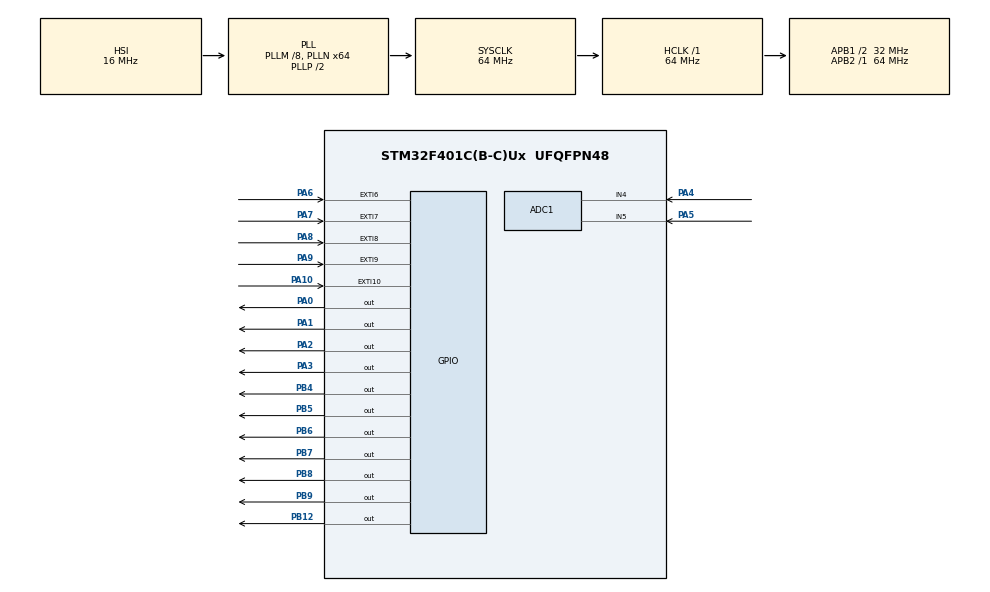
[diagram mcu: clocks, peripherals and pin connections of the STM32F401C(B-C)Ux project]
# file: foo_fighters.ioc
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ADC1.Channel-4\#ChannelRegularConversion=ADC_CHANNEL_4
ADC1.NbrOfConversionFlag=1
ADC1.Rank-4\#ChannelRegularConversion=1
ADC1.SamplingTime-4\#ChannelRegularConversion=ADC_SAMPLETIME_3CYCLES
ADC1.master=1
Mcu.Family=STM32F4
Mcu.Name=STM32F401C(B-C)Ux
Mcu.Package=UFQFPN48
NVIC.ADC_IRQn=true\:0\:0\:false\:false\:true\:true\:true\:true
NVIC.EXTI15_10_IRQn=true\:0\:0\:false\:false\:true\:true\:true\:true
NVIC.EXTI9_5_IRQn=true\:0\:0\:false\:false\:true\:true\:true\:true
NVIC.PriorityGroup=NVIC_PRIORITYGROUP_4
NVIC.TIM1_UP_TIM10_IRQn=true\:0\:0\:false\:false\:true\:true\:true\:true
PA0-WKUP.Signal=GPIO_Output
PA1.Signal=GPIO_Output
PA10.GPIO_ModeDefaultEXTI=GPIO_MODE_IT_FALLING
PA10.GPIO_PuPd=GPIO_PULLUP
PA10.Signal=GPXTI10
PA13.Signal=SYS_JTMS-SWDIO
PA14.Signal=SYS_JTCK-SWCLK
PA2.Signal=GPIO_Output
PA3.Signal=GPIO_Output
PA4.Signal=SharedAnalog_PA4
PA5.Signal=SharedAnalog_PA5
PA6.GPIO_ModeDefaultEXTI=GPIO_MODE_IT_FALLING
PA6.GPIO_PuPd=GPIO_PULLUP
PA6.Signal=GPXTI6
PA7.GPIO_ModeDefaultEXTI=GPIO_MODE_IT_FALLING
PA7.GPIO_PuPd=GPIO_PULLUP
PA7.Signal=GPXTI7
PA8.GPIO_ModeDefaultEXTI=GPIO_MODE_IT_FALLING
PA8.GPIO_PuPd=GPIO_PULLUP
PA8.Signal=GPXTI8
PA9.GPIO_ModeDefaultEXTI=GPIO_MODE_IT_FALLING
PA9.GPIO_PuPd=GPIO_PULLUP
PA9.Signal=GPXTI9
PB12.Signal=GPIO_Output
PB4.Signal=GPIO_Output
PB5.Signal=GPIO_Output
PB6.Signal=GPIO_Output
PB7.Signal=GPIO_Output
PB8.Signal=GPIO_Output
PB9.Signal=GPIO_Output
PH0\ -\ OSC_IN.Mode=HSE-External-Oscillator
PH0\ -\ OSC_IN.Signal=RCC_OSC_IN
PH1\ -\ OSC_OUT.Mode=HSE-External-Oscillator
PH1\ -\ OSC_OUT.Signal=RCC_OSC_OUT
ProjectManager.HeapSize=0x200
ProjectManager.StackSize=0x400
ProjectManager.TargetToolchain=STM32CubeIDE
RCC.48MHZClocksFreq_Value=32000000
RCC.AHBFreq_Value=64000000
RCC.APB1CLKDivider=RCC_HCLK_DIV2
RCC.APB1Freq_Value=32000000
RCC.APB1TimFreq_Value=64000000
RCC.APB2Freq_Value=64000000
RCC.APB2TimFreq_Value=64000000
RCC.CortexFreq_Value=64000000
RCC.HCLKFreq_Value=64000000
RCC.HSE_VALUE=25000000
RCC.HSI_VALUE=16000000
RCC.LSE_VALUE=32768
RCC.PLLM=8
RCC.PLLN=64
RCC.SYSCLKFreq_VALUE=64000000
RCC.SYSCLKSource=RCC_SYSCLKSOURCE_PLLCLK
RCC.VCOOutputFreq_Value=128000000
SH.SharedAnalog_PA4.0=GPIO_Analog
SH.SharedAnalog_PA4.1=ADC1_IN4,IN4
SH.SharedAnalog_PA5.0=GPIO_Analog
SH.SharedAnalog_PA5.1=ADC1_IN5,IN5
TIM1.Period=3
TIM1.Prescaler=999
VP_TIM1_VS_ClockSourceINT.Mode=Internal
board=custom

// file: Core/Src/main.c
/* USER CODE BEGIN Header */
/**
  ******************************************************************************
  * @file           : main.c
  * @brief          : Main program body
  ******************************************************************************
  * @attention
  *
  * Copyright (c) 2024 STMicroelectronics.
  * All rights reserved.
  *
  * This software is licensed under terms that can be found in the LICENSE file
  * in the root directory of this software component.
  * If no LICENSE file comes with this software, it is provided AS-IS.
  *
  ******************************************************************************
  */
/* USER CODE END Header */
#include "main.h"

/* USER CODE BEGIN Includes */
#include "lcd.h"
#include <math.h>

/* USER CODE END Includes */

ADC_HandleTypeDef hadc1;

TIM_HandleTypeDef htim1;

/* USER CODE BEGIN PV */
uint32_t adcData[2], tiksay, potValue, adcValue;
int sayi, uyg;
double temperature;
/* USER CODE END PV */

void SystemClock_Config(void);
static void MX_GPIO_Init(void);
static void MX_TIM1_Init(void);
static void MX_ADC1_Init(void);

int main(void)
{

  /* MCU Configuration--------------------------------------------------------*/

  /* Reset of all peripherals, Initializes the Flash interface and the Systick. */
  HAL_Init();

  /* Configure the system clock */
  SystemClock_Config();

  /* Initialize all configured peripherals */
  MX_GPIO_Init();
  MX_TIM1_Init();
  MX_ADC1_Init();
  /* USER CODE BEGIN 2 */

  HAL_GPIO_WritePin(GPIOA, GPIO_PIN_3, 1);
  HAL_GPIO_WritePin(GPIOA, GPIO_PIN_2, 1);
  HAL_GPIO_WritePin(GPIOA, GPIO_PIN_1, 1);
  HAL_GPIO_WritePin(GPIOA, GPIO_PIN_0, 1);

  lcdInit();
  writeStr(1,0,"Gomulu Sistemler");
  writeStr(2,0,"Final Odevi");
  HAL_Delay(5000);
  clearLcd2();

  sayi=0; uyg=0; tiksay=0;
  writeStr(1,0,"Secim Yapiniz");
  writeStr(2,0,"Seciminiz: ");
  displayInt(2,11,sayi);

  /* USER CODE END 2 */

  /* Infinite loop */
  /* USER CODE BEGIN WHILE */
  while (1)
  {
	  if (uyg == 0) {
		  HAL_GPIO_WritePin(GPIOA, GPIO_PIN_3, 1);
	  	  HAL_GPIO_WritePin(GPIOA, GPIO_PIN_2, 1);
	  	  HAL_GPIO_WritePin(GPIOA, GPIO_PIN_1, 1);
	  	  HAL_GPIO_WritePin(GPIOA, GPIO_PIN_0, 1);

	  	  clearLcd2();
	  	  writeStr(1,0,"Secim Yapiniz");
	  	  writeStr(2,0,"Seciminiz: ");
	  	  displayInt(2,11,sayi);
	  }
	  else if (uyg == 1) {
		  clearLcd2();
		  writeStr(1,0,"Projeyi Yapanlar:");
		  writeStr(2,0,"Ahmet Asfour");
	  }
	  else if (uyg == 15) {
		  clearLcd2();
		  writeStr(1,0,"Mert Kurt");
		  writeStr(2,0,"Yunus Delibas");
	  }
	  else if (uyg == 2) {
		  clearLcd2();
		  writeStr(1,0,"LED'ler yaniyor.");

		  HAL_GPIO_WritePin(GPIOA, GPIO_PIN_0, 0);
		  HAL_Delay(500);
		  HAL_GPIO_WritePin(GPIOA, GPIO_PIN_1, 0);
		  HAL_GPIO_WritePin(GPIOA, GPIO_PIN_0, 1);
		  HAL_Delay(500);
		  HAL_GPIO_WritePin(GPIOA, GPIO_PIN_0, 0);
		  HAL_Delay(500);
		  HAL_GPIO_WritePin(GPIOA, GPIO_PIN_2, 0);
		  HAL_GPIO_WritePin(GPIOA, GPIO_PIN_1, 1);
		  HAL_GPIO_WritePin(GPIOA, GPIO_PIN_0, 1);
		  HAL_Delay(500);
		  HAL_GPIO_WritePin(GPIOA, GPIO_PIN_0, 0);
		  HAL_Delay(500);
		  HAL_GPIO_WritePin(GPIOA, GPIO_PIN_1, 0);
		  HAL_GPIO_WritePin(GPIOA, GPIO_PIN_0, 1);
		  HAL_Delay(500);
		  HAL_GPIO_WritePin(GPIOA, GPIO_PIN_0, 0);
		  HAL_Delay(500);
		  HAL_GPIO_WritePin(GPIOA, GPIO_PIN_3, 0);
		  HAL_GPIO_WritePin(GPIOA, GPIO_PIN_2, 1);
		  HAL_GPIO_WritePin(GPIOA, GPIO_PIN_1, 1);
		  HAL_GPIO_WritePin(GPIOA, GPIO_PIN_0, 1);
		  HAL_Delay(500);
		  HAL_GPIO_WritePin(GPIOA, GPIO_PIN_0, 0);
		  HAL_Delay(500);
		  HAL_GPIO_WritePin(GPIOA, GPIO_PIN_1, 0);
		  HAL_GPIO_WritePin(GPIOA, GPIO_PIN_0, 1);
		  HAL_Delay(500);
		  HAL_GPIO_WritePin(GPIOA, GPIO_PIN_0, 0);
		  HAL_Delay(500);
		  HAL_GPIO_WritePin(GPIOA, GPIO_PIN_2, 0);
		  HAL_GPIO_WritePin(GPIOA, GPIO_PIN_1, 1);
		  HAL_GPIO_WritePin(GPIOA, GPIO_PIN_0, 1);
		  HAL_Delay(500);
		  HAL_GPIO_WritePin(GPIOA, GPIO_PIN_0, 0);
		  HAL_Delay(500);
		  HAL_GPIO_WritePin(GPIOA, GPIO_PIN_1, 0);
		  HAL_GPIO_WritePin(GPIOA, GPIO_PIN_0, 1);
		  HAL_Delay(500);
		  HAL_GPIO_WritePin(GPIOA, GPIO_PIN_0, 0);
		  HAL_Delay(500);

		  HAL_GPIO_WritePin(GPIOA, GPIO_PIN_3, 1);
		  HAL_GPIO_WritePin(GPIOA, GPIO_PIN_2, 1);
		  HAL_GPIO_WritePin(GPIOA, GPIO_PIN_1, 1);
		  HAL_GPIO_WritePin(GPIOA, GPIO_PIN_0, 1);
	  }
	  else if (uyg == 3) {
		  clearLcd2();

		  ADC_ChannelConfTypeDef sConfig = {0};
		  sConfig.Channel = ADC_CHANNEL_5;
		  sConfig.Rank = 1;
		  sConfig.SamplingTime = ADC_SAMPLETIME_3CYCLES;
		  if (HAL_ADC_ConfigChannel(&hadc1, &sConfig) != HAL_OK)
		  {
		      Error_Handler();
		  }

		  HAL_ADC_Start(&hadc1);
		  HAL_ADC_PollForConversion(&hadc1, 100);
		  potValue = HAL_ADC_GetValue(&hadc1);
		  HAL_ADC_Stop(&hadc1);
		  float voltage = (potValue / 4096.0) * 5.0;

		  writeStr(1, 0, "POT: ");
		  displayFloat(1, 5, voltage);
		  writeStr(1, 9, "V");

		  sConfig.Channel = ADC_CHANNEL_4;
		  if (HAL_ADC_ConfigChannel(&hadc1, &sConfig) != HAL_OK)
		  {
		      Error_Handler();
		  }

		  HAL_ADC_Start(&hadc1);
		  HAL_ADC_PollForConversion(&hadc1, 100);
		  adcValue = HAL_ADC_GetValue(&hadc1);
		  HAL_ADC_Stop(&hadc1);

		  float Rntc;
		  float Temperature;
		  float Vout = (adcValue / 4096.0) * 3.3;
		  Rntc = (10000.0 * Vout) / (3.3 - Vout);

		  float A = 1.009249522e-03;
		  float B = 2.378405444e-04;
		  float C = 2.019202697e-07;

		  Temperature = 1.0 / (A + B * log(Rntc) + C * pow(log(Rntc), 3));
		  Temperature = -(Temperature - 273.15);

		  writeStr(2, 0, "Sicaklik: ");
		  displayFloat(2, 10, Temperature);
		  writeStr(2, 15, "C");
	  }
	  else if (uyg == 4) {
		  clearLcd2();
	  }
	  else if (uyg == 5) {
		  clearLcd2();
		  writeStr(1,0,"1-4 arasi sayi");
		  writeStr(2,0,"giriniz lutfen!");
	  }

    /* USER CODE END WHILE */

  }
}

void SystemClock_Config(void)
{
  RCC_OscInitTypeDef RCC_OscInitStruct = {0};
  RCC_ClkInitTypeDef RCC_ClkInitStruct = {0};

  /** Configure the main internal regulator output voltage
  */
  __HAL_RCC_PWR_CLK_ENABLE();
  __HAL_PWR_VOLTAGESCALING_CONFIG(PWR_REGULATOR_VOLTAGE_SCALE2);

  /** Initializes the RCC Oscillators according to the specified parameters
  * in the RCC_OscInitTypeDef structure.
  */
  RCC_OscInitStruct.OscillatorType = RCC_OSCILLATORTYPE_HSI;
  RCC_OscInitStruct.HSIState = RCC_HSI_ON;
  RCC_OscInitStruct.HSICalibrationValue = RCC_HSICALIBRATION_DEFAULT;
  RCC_OscInitStruct.PLL.PLLState = RCC_PLL_ON;
  RCC_OscInitStruct.PLL.PLLSource = RCC_PLLSOURCE_HSI;
  RCC_OscInitStruct.PLL.PLLM = 8;
  RCC_OscInitStruct.PLL.PLLN = 64;
  RCC_OscInitStruct.PLL.PLLP = RCC_PLLP_DIV2;
  RCC_OscInitStruct.PLL.PLLQ = 4;
  if (HAL_RCC_OscConfig(&RCC_OscInitStruct) != HAL_OK)
  {
    Error_Handler();
  }

  /** Initializes the CPU, AHB and APB buses clocks
  */
  RCC_ClkInitStruct.ClockType = RCC_CLOCKTYPE_HCLK|RCC_CLOCKTYPE_SYSCLK
                              |RCC_CLOCKTYPE_PCLK1|RCC_CLOCKTYPE_PCLK2;
  RCC_ClkInitStruct.SYSCLKSource = RCC_SYSCLKSOURCE_PLLCLK;
  RCC_ClkInitStruct.AHBCLKDivider = RCC_SYSCLK_DIV1;
  RCC_ClkInitStruct.APB1CLKDivider = RCC_HCLK_DIV2;
  RCC_ClkInitStruct.APB2CLKDivider = RCC_HCLK_DIV1;

  if (HAL_RCC_ClockConfig(&RCC_ClkInitStruct, FLASH_LATENCY_2) != HAL_OK)
  {
    Error_Handler();
  }
}

static void MX_ADC1_Init(void)
{

  ADC_ChannelConfTypeDef sConfig = {0};

  /** Configure the global features of the ADC (Clock, Resolution, Data Alignment and number of conversion)
  */
  hadc1.Instance = ADC1;
  hadc1.Init.ClockPrescaler = ADC_CLOCK_SYNC_PCLK_DIV2;
  hadc1.Init.Resolution = ADC_RESOLUTION_12B;
  hadc1.Init.ScanConvMode = DISABLE;
  hadc1.Init.ContinuousConvMode = DISABLE;
  hadc1.Init.DiscontinuousConvMode = DISABLE;
  hadc1.Init.ExternalTrigConvEdge = ADC_EXTERNALTRIGCONVEDGE_NONE;
  hadc1.Init.ExternalTrigConv = ADC_SOFTWARE_START;
  hadc1.Init.DataAlign = ADC_DATAALIGN_RIGHT;
  hadc1.Init.NbrOfConversion = 1;
  hadc1.Init.DMAContinuousRequests = DISABLE;
  hadc1.Init.EOCSelection = ADC_EOC_SINGLE_CONV;
  if (HAL_ADC_Init(&hadc1) != HAL_OK)
  {
    Error_Handler();
  }

  /** Configure for the selected ADC regular channel its corresponding rank in the sequencer and its sample time.
  */
  sConfig.Channel = ADC_CHANNEL_4;
  sConfig.Rank = 1;
  sConfig.SamplingTime = ADC_SAMPLETIME_3CYCLES;
  if (HAL_ADC_ConfigChannel(&hadc1, &sConfig) != HAL_OK)
  {
    Error_Handler();
  }

}

static void MX_TIM1_Init(void)
{

  TIM_ClockConfigTypeDef sClockSourceConfig = {0};
  TIM_MasterConfigTypeDef sMasterConfig = {0};

  htim1.Instance = TIM1;
  htim1.Init.Prescaler = 999;
  htim1.Init.CounterMode = TIM_COUNTERMODE_UP;
  htim1.Init.Period = 3;
  htim1.Init.ClockDivision = TIM_CLOCKDIVISION_DIV1;
  htim1.Init.RepetitionCounter = 0;
  htim1.Init.AutoReloadPreload = TIM_AUTORELOAD_PRELOAD_DISABLE;
  if (HAL_TIM_Base_Init(&htim1) != HAL_OK)
  {
    Error_Handler();
  }
  sClockSourceConfig.ClockSource = TIM_CLOCKSOURCE_INTERNAL;
  if (HAL_TIM_ConfigClockSource(&htim1, &sClockSourceConfig) != HAL_OK)
  {
    Error_Handler();
  }
  sMasterConfig.MasterOutputTrigger = TIM_TRGO_RESET;
  sMasterConfig.MasterSlaveMode = TIM_MASTERSLAVEMODE_DISABLE;
  if (HAL_TIMEx_MasterConfigSynchronization(&htim1, &sMasterConfig) != HAL_OK)
  {
    Error_Handler();
  }

}

static void MX_GPIO_Init(void)
{
  GPIO_InitTypeDef GPIO_InitStruct = {0};

  /* GPIO Ports Clock Enable */
  __HAL_RCC_GPIOC_CLK_ENABLE();
  __HAL_RCC_GPIOH_CLK_ENABLE();
  __HAL_RCC_GPIOA_CLK_ENABLE();
  __HAL_RCC_GPIOB_CLK_ENABLE();

  /*Configure GPIO pin Output Level */
  HAL_GPIO_WritePin(GPIOA, GPIO_PIN_0|GPIO_PIN_1|GPIO_PIN_2|GPIO_PIN_3, GPIO_PIN_RESET);

  /*Configure GPIO pin Output Level */
  HAL_GPIO_WritePin(GPIOB, GPIO_PIN_12|GPIO_PIN_4|GPIO_PIN_5|GPIO_PIN_6
                          |GPIO_PIN_7|GPIO_PIN_8|GPIO_PIN_9, GPIO_PIN_RESET);

  /*Configure GPIO pins : PC13 PC14 PC15 */
  GPIO_InitStruct.Pin = GPIO_PIN_13|GPIO_PIN_14|GPIO_PIN_15;
  GPIO_InitStruct.Mode = GPIO_MODE_ANALOG;
  GPIO_InitStruct.Pull = GPIO_NOPULL;
  HAL_GPIO_Init(GPIOC, &GPIO_InitStruct);

  /*Configure GPIO pins : PA0 PA1 PA2 PA3 */
  GPIO_InitStruct.Pin = GPIO_PIN_0|GPIO_PIN_1|GPIO_PIN_2|GPIO_PIN_3;
  GPIO_InitStruct.Mode = GPIO_MODE_OUTPUT_PP;
  GPIO_InitStruct.Pull = GPIO_NOPULL;
  GPIO_InitStruct.Speed = GPIO_SPEED_FREQ_LOW;
  HAL_GPIO_Init(GPIOA, &GPIO_InitStruct);

  /*Configure GPIO pins : PA6 PA7 PA8 PA9
                           PA10 */
  GPIO_InitStruct.Pin = GPIO_PIN_6|GPIO_PIN_7|GPIO_PIN_8|GPIO_PIN_9
                          |GPIO_PIN_10;
  GPIO_InitStruct.Mode = GPIO_MODE_IT_FALLING;
  GPIO_InitStruct.Pull = GPIO_PULLUP;
  HAL_GPIO_Init(GPIOA, &GPIO_InitStruct);

  /*Configure GPIO pins : PB0 PB1 PB2 PB10
                           PB13 PB14 PB15 PB3 */
  GPIO_InitStruct.Pin = GPIO_PIN_0|GPIO_PIN_1|GPIO_PIN_2|GPIO_PIN_10
                          |GPIO_PIN_13|GPIO_PIN_14|GPIO_PIN_15|GPIO_PIN_3;
  GPIO_InitStruct.Mode = GPIO_MODE_ANALOG;
  GPIO_InitStruct.Pull = GPIO_NOPULL;
  HAL_GPIO_Init(GPIOB, &GPIO_InitStruct);

  /*Configure GPIO pins : PB12 PB4 PB5 PB6
                           PB7 PB8 PB9 */
  GPIO_InitStruct.Pin = GPIO_PIN_12|GPIO_PIN_4|GPIO_PIN_5|GPIO_PIN_6
                          |GPIO_PIN_7|GPIO_PIN_8|GPIO_PIN_9;
  GPIO_InitStruct.Mode = GPIO_MODE_OUTPUT_PP;
  GPIO_InitStruct.Pull = GPIO_NOPULL;
  GPIO_InitStruct.Speed = GPIO_SPEED_FREQ_LOW;
  HAL_GPIO_Init(GPIOB, &GPIO_InitStruct);

  /*Configure GPIO pins : PA11 PA12 PA15 */
  GPIO_InitStruct.Pin = GPIO_PIN_11|GPIO_PIN_12|GPIO_PIN_15;
  GPIO_InitStruct.Mode = GPIO_MODE_ANALOG;
  GPIO_InitStruct.Pull = GPIO_NOPULL;
  HAL_GPIO_Init(GPIOA, &GPIO_InitStruct);

  /* EXTI interrupt init*/
  HAL_NVIC_SetPriority(EXTI9_5_IRQn, 0, 0);
  HAL_NVIC_EnableIRQ(EXTI9_5_IRQn);

  HAL_NVIC_SetPriority(EXTI15_10_IRQn, 0, 0);
  HAL_NVIC_EnableIRQ(EXTI15_10_IRQn);

}

void Error_Handler(void)
{
  __disable_irq();
  while (1)
  {
  }
}
